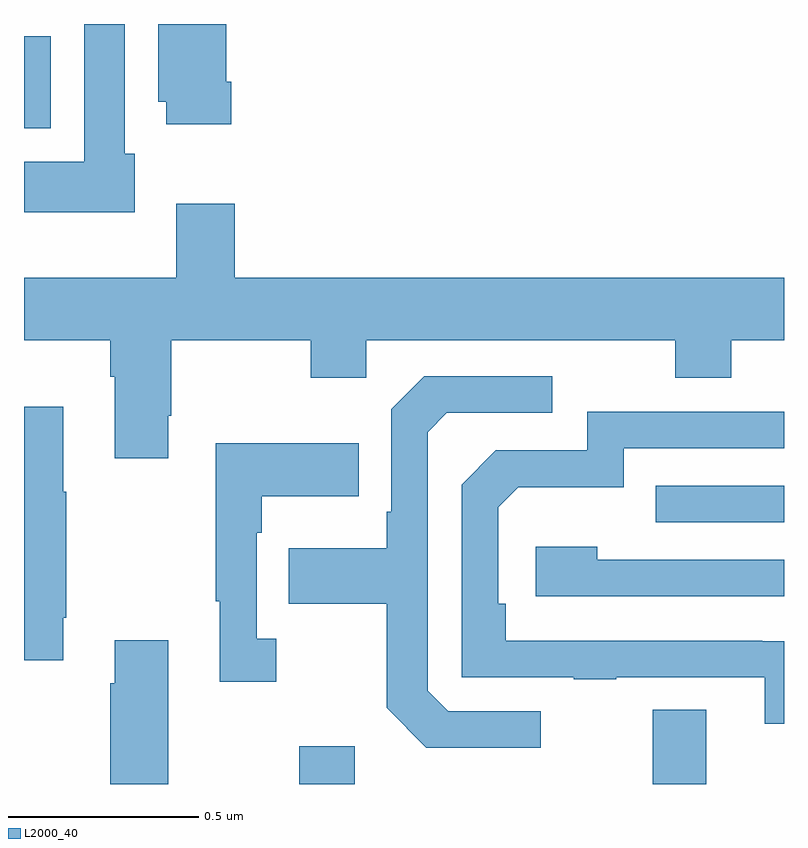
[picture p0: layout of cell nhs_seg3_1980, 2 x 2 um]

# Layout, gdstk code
import gdstk
lib = gdstk.Library(unit=1e-6, precision=1e-09)
def R(c, l, rs):  # rectangles x0, y0, x1, y1
    for r in rs: c.add(gdstk.rectangle(r[:2], r[2:], *l))
def P(c, l, *ps):  # polygons
    for p in ps: c.add(gdstk.Polygon(p, *l))
L2000_40 = (2000, 40)

nhs_seg3_1980 = lib.new_cell('nhs_seg3_1980')
R(nhs_seg3_1980, L2000_40, [(135.724,714.4,135.871,714.499), (136.655,714.4,136.795,714.595), (136.663,715.089,137,715.185), (135,716.126,135.07,716.368)])
P(nhs_seg3_1980, L2000_40, [(135.292,716.058),(135.265,716.058),(135.265,716.4),(135.158,716.4),(135.158,716.038),(135,716.038),(135,715.904),(135.292,715.904)],
  [(135.545,716.248),(135.532,716.248),(135.532,716.4),(135.353,716.4),(135.353,716.196),(135.374,716.196),(135.374,716.136),(135.545,716.136)],
  [(135.401,715.927),(135.401,715.732),(135,715.732),(135,715.568),(135.227,715.568),(135.227,715.472),(135.239,715.472),(135.239,715.257),(135.379,715.257),(135.379,715.369),(135.387,715.369),(135.387,715.568),(135.754,715.568),(135.754,715.469),(135.9,715.469),(135.9,715.568),(136.714,715.568),(136.714,715.469),(136.861,715.469),(136.861,715.568),(137,715.568),(137,715.732),(135.554,715.732),(135.554,715.927)],
  [(136.36,714.591),(136.116,714.591),(136.062,714.645),(136.062,715.326),(136.113,715.377),(136.39,715.377),(136.39,715.473),(136.053,715.473),(135.966,715.386),(135.966,715.117),(135.954,715.117),(135.954,715.021),(135.697,715.021),(135.697,714.874),(135.954,714.874),(135.954,714.601),(136.059,714.495),(136.36,714.495)],
  [(135.103,714.838),(135.111,714.838),(135.111,715.169),(135.103,715.169),(135.103,715.393),(135,715.393),(135,714.726),(135.103,714.726)],
  [(137,714.776),(136.943,714.776),(136.943,714.777),(136.268,714.777),(136.268,714.874),(136.248,714.874),(136.248,715.128),(136.301,715.181),(136.578,715.181),(136.578,715.284),(137,715.284),(137,715.38),(136.482,715.38),(136.482,715.278),(136.242,715.278),(136.152,715.188),(136.152,714.681),(136.447,714.681),(136.447,714.676),(136.559,714.676),(136.559,714.681),(136.949,714.681),(136.949,714.558),(137,714.558)],
  [(135.664,714.782),(135.612,714.782),(135.612,715.061),(135.625,715.061),(135.625,715.157),(135.881,715.157),(135.881,715.297),(135.504,715.297),(135.504,714.881),(135.515,714.881),(135.515,714.669),(135.664,714.669)],
  [(137,714.99),(136.508,714.99),(136.508,715.024),(136.347,715.024),(136.347,714.894),(137,714.894)],
  [(135.239,714.778),(135.239,714.665),(135.227,714.665),(135.227,714.4),(135.379,714.4),(135.379,714.778)])

lib.write_gds('nhs_seg3_1980.gds')
